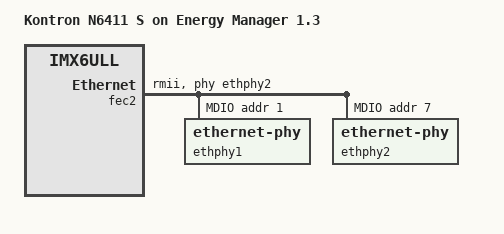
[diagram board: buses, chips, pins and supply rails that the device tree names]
// SPDX-License-Identifier: GPL-2.0
/*
 * Copyright (C) 2017 exceet electronics GmbH
 * Copyright (C) 2019 Kontron Electronics GmbH
 */

/dts-v1/;

#include "imx6ull-kontron-sl.dtsi"
#include "imx6ul-kontron-bl-common.dtsi"

/ {
	model = "Kontron N6411 S on Energy Manager 1.3";
	compatible = "kontron,bl-imx6ull", "kontron,sl-imx6ull", "fsl,imx6ull";
};

&fec1 {
	pinctrl-0 = <&pinctrl_enet1>;
	/delete-node/ mdio;
};

&fec2 {
	pinctrl-names = "default";
	pinctrl-0 = <&pinctrl_enet2 &pinctrl_enet2_mdio>;
	phy-mode = "rmii";
	phy-handle = <&ethphy2>;
	status = "okay";

	mdio {
		#address-cells = <1>;
		#size-cells = <0>;

		ethphy1: ethernet-phy@1 {
			reg = <1>;
			micrel,led-mode = <0>;
			clocks = <&clks IMX6UL_CLK_ENET_REF>;
			clock-names = "rmii-ref";
		};

		ethphy2: ethernet-phy@7 {
			reg = <7>;
			clocks = <&clks IMX6UL_CLK_ENET2_REF>;
		};
	};
};

&usdhc2
{
	status = "disabled";
};
